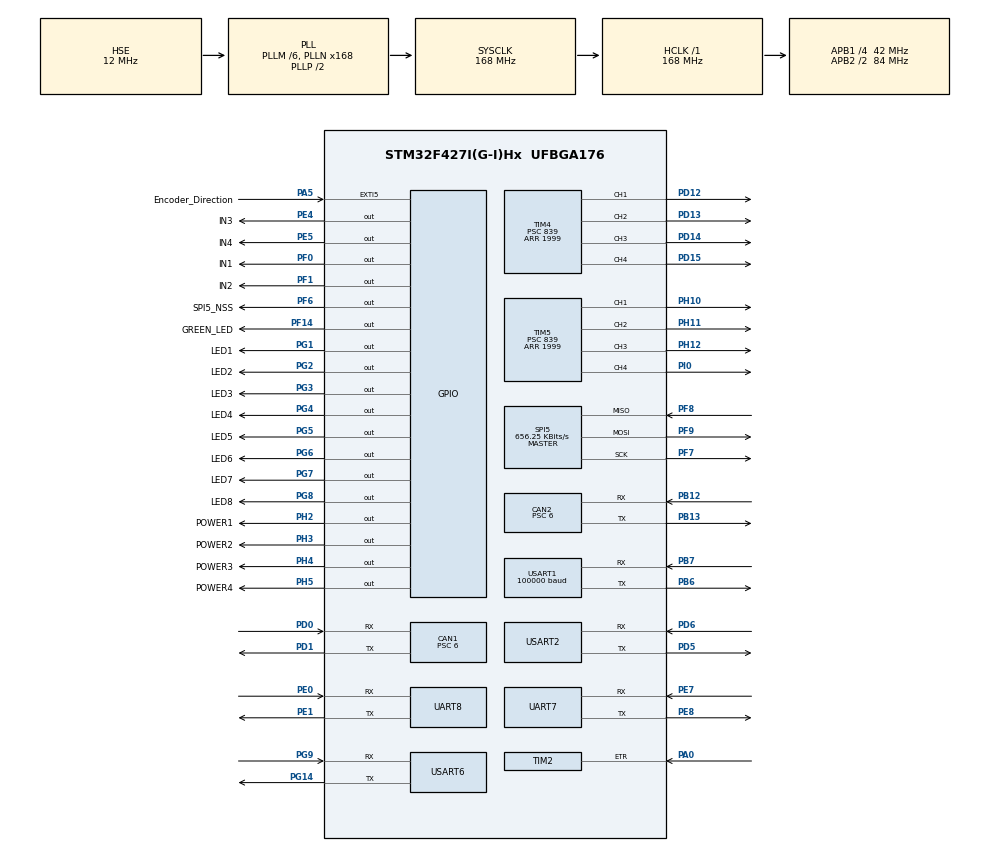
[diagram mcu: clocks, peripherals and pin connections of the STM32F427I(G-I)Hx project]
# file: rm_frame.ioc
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CAN1.BS1=CAN_BS1_2TQ
CAN1.BS2=CAN_BS2_4TQ
CAN1.CalculateTimeQuantum=142.85714285714286
CAN1.Prescaler=6
CAN2.BS1=CAN_BS1_2TQ
CAN2.BS2=CAN_BS2_4TQ
CAN2.CalculateTimeQuantum=142.85714285714286
CAN2.Prescaler=6
Dma.Request0=UART7_RX
Dma.Request1=USART1_RX
Dma.Request2=USART6_RX
Dma.UART7_RX.0.Direction=DMA_PERIPH_TO_MEMORY
Dma.UART7_RX.0.FIFOMode=DMA_FIFOMODE_DISABLE
Dma.UART7_RX.0.Instance=DMA1_Stream3
Dma.UART7_RX.0.MemDataAlignment=DMA_MDATAALIGN_BYTE
Dma.UART7_RX.0.MemInc=DMA_MINC_ENABLE
Dma.UART7_RX.0.Mode=DMA_CIRCULAR
Dma.UART7_RX.0.PeriphDataAlignment=DMA_PDATAALIGN_BYTE
Dma.UART7_RX.0.PeriphInc=DMA_PINC_DISABLE
Dma.UART7_RX.0.Priority=DMA_PRIORITY_VERY_HIGH
Dma.USART1_RX.1.Direction=DMA_PERIPH_TO_MEMORY
Dma.USART1_RX.1.FIFOMode=DMA_FIFOMODE_DISABLE
Dma.USART1_RX.1.Instance=DMA2_Stream2
Dma.USART1_RX.1.MemDataAlignment=DMA_MDATAALIGN_BYTE
Dma.USART1_RX.1.MemInc=DMA_MINC_ENABLE
Dma.USART1_RX.1.Mode=DMA_CIRCULAR
Dma.USART1_RX.1.PeriphDataAlignment=DMA_PDATAALIGN_BYTE
Dma.USART1_RX.1.PeriphInc=DMA_PINC_DISABLE
Dma.USART1_RX.1.Priority=DMA_PRIORITY_VERY_HIGH
Dma.USART6_RX.2.Direction=DMA_PERIPH_TO_MEMORY
Dma.USART6_RX.2.FIFOMode=DMA_FIFOMODE_DISABLE
Dma.USART6_RX.2.Instance=DMA2_Stream1
Dma.USART6_RX.2.MemDataAlignment=DMA_MDATAALIGN_BYTE
Dma.USART6_RX.2.MemInc=DMA_MINC_ENABLE
Dma.USART6_RX.2.Mode=DMA_CIRCULAR
Dma.USART6_RX.2.PeriphDataAlignment=DMA_PDATAALIGN_BYTE
Dma.USART6_RX.2.PeriphInc=DMA_PINC_DISABLE
Dma.USART6_RX.2.Priority=DMA_PRIORITY_VERY_HIGH
FREERTOS.INCLUDE_vTaskDelayUntil=1
FREERTOS.Tasks01=defaultTask,0,128,StartDefaultTask,Default,NULL,Dynamic,NULL,NULL
Mcu.Family=STM32F4
Mcu.Name=STM32F427I(G-I)Hx
Mcu.Package=UFBGA176
NVIC.CAN1_RX0_IRQn=true\:5\:0\:false\:false\:true\:true\:true\:true
NVIC.CAN2_RX0_IRQn=true\:5\:0\:false\:false\:true\:true\:true\:true
NVIC.DMA1_Stream3_IRQn=true\:5\:0\:false\:false\:true\:true\:false\:true
NVIC.DMA2_Stream1_IRQn=true\:5\:0\:false\:false\:true\:true\:false\:true
NVIC.DMA2_Stream2_IRQn=true\:5\:0\:false\:false\:true\:true\:false\:true
NVIC.EXTI9_5_IRQn=true\:5\:0\:false\:false\:true\:true\:true\:true
NVIC.PriorityGroup=NVIC_PRIORITYGROUP_4
NVIC.TIM1_UP_TIM10_IRQn=true\:0\:0\:false\:false\:true\:false\:false\:true
NVIC.TIM3_IRQn=true\:5\:0\:false\:false\:true\:true\:true\:true
NVIC.TimeBase=TIM1_UP_TIM10_IRQn
NVIC.TimeBaseIP=TIM1
NVIC.UART7_IRQn=true\:5\:0\:false\:false\:true\:true\:true\:true
NVIC.UART8_IRQn=true\:5\:0\:false\:false\:true\:true\:true\:true
NVIC.USART1_IRQn=true\:5\:0\:false\:false\:true\:true\:true\:true
NVIC.USART2_IRQn=true\:5\:0\:false\:false\:true\:true\:true\:true
NVIC.USART6_IRQn=true\:5\:0\:false\:false\:true\:true\:true\:true
PA0/WKUP.Signal=S_TIM2_CH1_ETR
PA13.Mode=Serial_Wire
PA13.Signal=SYS_JTMS-SWDIO
PA14.Mode=Serial_Wire
PA14.Signal=SYS_JTCK-SWCLK
PA5.GPIO_Label=Encoder_Direction
PA5.GPIO_ModeDefaultEXTI=GPIO_MODE_IT_RISING_FALLING
PA5.Signal=GPXTI5
PB12.Mode=Slave
PB12.Signal=CAN2_RX
PB13.Mode=Slave
PB13.Signal=CAN2_TX
PB6.Mode=Asynchronous
PB6.Signal=USART1_TX
PB7.Mode=Asynchronous
PB7.Signal=USART1_RX
PD0.Mode=Master
PD0.Signal=CAN1_RX
PD1.Mode=Master
PD1.Signal=CAN1_TX
PD12.Signal=S_TIM4_CH1
PD13.Signal=S_TIM4_CH2
PD14.Signal=S_TIM4_CH3
PD15.Signal=S_TIM4_CH4
PD5.Mode=Asynchronous
PD5.Signal=USART2_TX
PD6.Mode=Asynchronous
PD6.Signal=USART2_RX
PE0.Mode=Asynchronous
PE0.Signal=UART8_RX
PE1.Mode=Asynchronous
PE1.Signal=UART8_TX
PE4.GPIO_Label=IN3
PE4.Signal=GPIO_Output
PE5.GPIO_Label=IN4
PE5.Signal=GPIO_Output
PE7.Mode=Asynchronous
PE7.Signal=UART7_RX
PE8.Mode=Asynchronous
PE8.Signal=UART7_TX
PF0.GPIO_Label=IN1
PF0.Signal=GPIO_Output
PF1.GPIO_Label=IN2
PF1.Signal=GPIO_Output
PF14.GPIO_Label=GREEN_LED
PF14.PinState=GPIO_PIN_SET
PF14.Signal=GPIO_Output
PF6.GPIO_Label=SPI5_NSS
PF6.Signal=GPIO_Output
PF7.Mode=Full_Duplex_Master
PF7.Signal=SPI5_SCK
PF8.Mode=Full_Duplex_Master
PF8.Signal=SPI5_MISO
PF9.Mode=Full_Duplex_Master
PF9.Signal=SPI5_MOSI
PG1.GPIO_Label=LED1
PG1.PinState=GPIO_PIN_SET
PG1.Signal=GPIO_Output
PG14.Mode=Asynchronous
PG14.Signal=USART6_TX
PG2.GPIO_Label=LED2
PG2.PinState=GPIO_PIN_SET
PG2.Signal=GPIO_Output
PG3.GPIO_Label=LED3
PG3.PinState=GPIO_PIN_SET
PG3.Signal=GPIO_Output
PG4.GPIO_Label=LED4
PG4.PinState=GPIO_PIN_SET
PG4.Signal=GPIO_Output
PG5.GPIO_Label=LED5
PG5.PinState=GPIO_PIN_SET
PG5.Signal=GPIO_Output
PG6.GPIO_Label=LED6
PG6.PinState=GPIO_PIN_SET
PG6.Signal=GPIO_Output
PG7.GPIO_Label=LED7
PG7.PinState=GPIO_PIN_SET
PG7.Signal=GPIO_Output
PG8.GPIO_Label=LED8
PG8.PinState=GPIO_PIN_SET
PG8.Signal=GPIO_Output
PG9.Mode=Asynchronous
PG9.Signal=USART6_RX
PH0/OSC_IN.Mode=HSE-External-Oscillator
PH0/OSC_IN.Signal=RCC_OSC_IN
PH1/OSC_OUT.Mode=HSE-External-Oscillator
PH1/OSC_OUT.Signal=RCC_OSC_OUT
PH10.Signal=S_TIM5_CH1
PH11.Signal=S_TIM5_CH2
PH12.Signal=S_TIM5_CH3
PH2.GPIO_Label=POWER1
PH2.Signal=GPIO_Output
PH3.GPIO_Label=POWER2
PH3.Signal=GPIO_Output
PH4.GPIO_Label=POWER3
PH4.Signal=GPIO_Output
PH5.GPIO_Label=POWER4
PH5.Signal=GPIO_Output
PI0.Signal=S_TIM5_CH4
ProjectManager.HeapSize=0x200
ProjectManager.StackSize=0x400
ProjectManager.TargetToolchain=MDK-ARM V5.27
RCC.48MHZClocksFreq_Value=84000000
RCC.AHBFreq_Value=168000000
RCC.APB1CLKDivider=RCC_HCLK_DIV4
RCC.APB1Freq_Value=42000000
RCC.APB1TimFreq_Value=84000000
RCC.APB2CLKDivider=RCC_HCLK_DIV2
RCC.APB2Freq_Value=84000000
RCC.APB2TimFreq_Value=168000000
RCC.CortexFreq_Value=168000000
RCC.HCLKFreq_Value=168000000
RCC.HSE_VALUE=12000000
RCC.HSI_VALUE=16000000
RCC.LSE_VALUE=32768
RCC.PLLM=6
RCC.PLLN=168
RCC.PLLSourceVirtual=RCC_PLLSOURCE_HSE
RCC.SYSCLKFreq_VALUE=168000000
RCC.SYSCLKSource=RCC_SYSCLKSOURCE_PLLCLK
RCC.VCOOutputFreq_Value=336000000
SH.S_TIM2_CH1_ETR.0=TIM2_ETR,ClockSourceETR_Mode2
SH.S_TIM4_CH1.0=TIM4_CH1,PWM Generation1 CH1
SH.S_TIM4_CH2.0=TIM4_CH2,PWM Generation2 CH2
SH.S_TIM4_CH3.0=TIM4_CH3,PWM Generation3 CH3
SH.S_TIM4_CH4.0=TIM4_CH4,PWM Generation4 CH4
SH.S_TIM5_CH1.0=TIM5_CH1,PWM Generation1 CH1
SH.S_TIM5_CH2.0=TIM5_CH2,PWM Generation2 CH2
SH.S_TIM5_CH3.0=TIM5_CH3,PWM Generation3 CH3
SH.S_TIM5_CH4.0=TIM5_CH4,PWM Generation4 CH4
SPI5.BaudRatePrescaler=SPI_BAUDRATEPRESCALER_128
SPI5.CalculateBaudRate=656.25 KBits/s
SPI5.Direction=SPI_DIRECTION_2LINES
SPI5.Mode=SPI_MODE_MASTER
SPI5.VirtualType=VM_MASTER
TIM2.Period=0xFFFFFFFF
TIM3.Period=99
TIM3.Prescaler=839
TIM4.Channel-PWM\ Generation1\ CH1=TIM_CHANNEL_1
TIM4.Channel-PWM\ Generation2\ CH2=TIM_CHANNEL_2
TIM4.Channel-PWM\ Generation3\ CH3=TIM_CHANNEL_3
TIM4.Channel-PWM\ Generation4\ CH4=TIM_CHANNEL_4
TIM4.Period=1999
TIM4.Prescaler=839
TIM5.Channel-PWM\ Generation1\ CH1=TIM_CHANNEL_1
TIM5.Channel-PWM\ Generation2\ CH2=TIM_CHANNEL_2
TIM5.Channel-PWM\ Generation3\ CH3=TIM_CHANNEL_3
TIM5.Channel-PWM\ Generation4\ CH4=TIM_CHANNEL_4
TIM5.Period=1999
TIM5.Prescaler=839
UART7.VirtualMode=Asynchronous
UART8.VirtualMode=Asynchronous
USART1.BaudRate=100000
USART1.Parity=PARITY_EVEN
USART1.VirtualMode=VM_ASYNC
USART2.VirtualMode=VM_ASYNC
USART6.VirtualMode=VM_ASYNC
VP_FREERTOS_VS_CMSIS_V1.Mode=CMSIS_V1
VP_SYS_VS_tim1.Mode=TIM1
VP_TIM3_VS_ClockSourceINT.Mode=Internal
VP_TIM4_VS_ClockSourceINT.Mode=Internal
VP_TIM5_VS_ClockSourceINT.Mode=Internal
board=custom

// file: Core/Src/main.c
/* USER CODE BEGIN Header */
/**
  ******************************************************************************
  * @file           : main.c
  * @brief          : Main program body
  ******************************************************************************
  * @attention
  *
  * <h2><center>&copy; Copyright (c) 2020 STMicroelectronics.
  * All rights reserved.</center></h2>
  *
  * This software component is licensed by ST under BSD 3-Clause license,
  * the "License"; You may not use this file except in compliance with the
  * License. You may obtain a copy of the License at:
  *                        opensource.org/licenses/BSD-3-Clause
  *
  ******************************************************************************
  */
/* USER CODE END Header */

#include "main.h"
#include "cmsis_os.h"
#include "can.h"
#include "dma.h"
#include "spi.h"
#include "tim.h"
#include "usart.h"
#include "gpio.h"

/* USER CODE BEGIN Includes */
#include "bsp.h"
/* USER CODE END Includes */

void SystemClock_Config(void);
void MX_FREERTOS_Init(void);

int main(void)
{

  /* MCU Configuration--------------------------------------------------------*/

  /* Reset of all peripherals, Initializes the Flash interface and the Systick. */
  HAL_Init();

  /* Configure the system clock */
  SystemClock_Config();

  /* USER CODE BEGIN SysInit */
	taskENTER_CRITICAL();  //进入临界段
	//由于退出临界段代码无法写在指定位置，故当使用CubeMX重新生成工程时，
	//需要将taskEXIT_CRITICAL()退出临界段重新写入
  /* USER CODE END SysInit */

  /* Initialize all configured peripherals */
  MX_GPIO_Init();
  MX_DMA_Init();
  MX_CAN1_Init();
  MX_CAN2_Init();
  MX_SPI5_Init();
  MX_TIM2_Init();
  MX_TIM3_Init();
  MX_TIM4_Init();
  MX_TIM5_Init();
  MX_UART7_Init();
  MX_UART8_Init();
  MX_USART1_UART_Init();
  MX_USART2_UART_Init();
  MX_USART6_UART_Init();
  /* USER CODE BEGIN 2 */
	BSP_Init();
  /* USER CODE END 2 */

  /* Call init function for freertos objects (in freertos.c) */
  MX_FREERTOS_Init();

  taskEXIT_CRITICAL();//退出临界段
  /* Start scheduler */
  osKernelStart();

  /* We should never get here as control is now taken by the scheduler */

  /* Infinite loop */
  while (1)
  {

  }
}

void SystemClock_Config(void)
{
  RCC_OscInitTypeDef RCC_OscInitStruct = {0};
  RCC_ClkInitTypeDef RCC_ClkInitStruct = {0};

  /** Configure the main internal regulator output voltage
  */
  __HAL_RCC_PWR_CLK_ENABLE();
  __HAL_PWR_VOLTAGESCALING_CONFIG(PWR_REGULATOR_VOLTAGE_SCALE1);
  /** Initializes the CPU, AHB and APB busses clocks
  */
  RCC_OscInitStruct.OscillatorType = RCC_OSCILLATORTYPE_HSE;
  RCC_OscInitStruct.HSEState = RCC_HSE_ON;
  RCC_OscInitStruct.PLL.PLLState = RCC_PLL_ON;
  RCC_OscInitStruct.PLL.PLLSource = RCC_PLLSOURCE_HSE;
  RCC_OscInitStruct.PLL.PLLM = 6;
  RCC_OscInitStruct.PLL.PLLN = 168;
  RCC_OscInitStruct.PLL.PLLP = RCC_PLLP_DIV2;
  RCC_OscInitStruct.PLL.PLLQ = 4;
  if (HAL_RCC_OscConfig(&RCC_OscInitStruct) != HAL_OK)
  {
    Error_Handler();
  }
  /** Initializes the CPU, AHB and APB busses clocks
  */
  RCC_ClkInitStruct.ClockType = RCC_CLOCKTYPE_HCLK|RCC_CLOCKTYPE_SYSCLK
                              |RCC_CLOCKTYPE_PCLK1|RCC_CLOCKTYPE_PCLK2;
  RCC_ClkInitStruct.SYSCLKSource = RCC_SYSCLKSOURCE_PLLCLK;
  RCC_ClkInitStruct.AHBCLKDivider = RCC_SYSCLK_DIV1;
  RCC_ClkInitStruct.APB1CLKDivider = RCC_HCLK_DIV4;
  RCC_ClkInitStruct.APB2CLKDivider = RCC_HCLK_DIV2;

  if (HAL_RCC_ClockConfig(&RCC_ClkInitStruct, FLASH_LATENCY_5) != HAL_OK)
  {
    Error_Handler();
  }
}

//void HAL_TIM_PeriodElapsedCallback(TIM_HandleTypeDef *htim)
//{
//  /* USER CODE BEGIN Callback 0 */

//  /* USER CODE END Callback 0 */
//  if (htim->Instance == TIM1) {
//    HAL_IncTick();
//  }
//  /* USER CODE BEGIN Callback 1 */

//  /* USER CODE END Callback 1 */
//}

void Error_Handler(void)
{
}

/************************ (C) COPYRIGHT STMicroelectronics *****END OF FILE****/

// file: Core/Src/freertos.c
/* USER CODE BEGIN Header */
/**
  ******************************************************************************
  * File Name          : freertos.c
  * Description        : Code for freertos applications
  ******************************************************************************
  * @attention
  *
  * <h2><center>&copy; Copyright (c) 2020 STMicroelectronics.
  * All rights reserved.</center></h2>
  *
  * This software component is licensed by ST under Ultimate Liberty license
  * SLA0044, the "License"; You may not use this file except in compliance with
  * the License. You may obtain a copy of the License at:
  *                             www.st.com/SLA0044
  *
  ******************************************************************************
  */
/* USER CODE END Header */

#include "FreeRTOS.h"
#include "task.h"
#include "main.h"
#include "cmsis_os.h"

/* USER CODE BEGIN Includes */
#include "myinclude.h"
/* USER CODE END Includes */

/* USER CODE BEGIN Variables */
osThreadId RemoteDataTaskHandle;
osThreadId VisionDataTaskHandle;
osThreadId RefereeDataTaskHandle;
osThreadId TriggerDriveTaskHandle;
osThreadId EnergyStorageTaskHandle;
osThreadId GimbalControlTaskHandle;
osThreadId ChassisControlTaskHandle;
osThreadId OffLineCheckTaskHandle;
osThreadId PrintfTaskHandle;

/* USER CODE END Variables */
osThreadId defaultTaskHandle;

/* USER CODE BEGIN FunctionPrototypes */
void Remote_Data_Task(void const * argument);
void Vision_Data_Task(void const * argument);
void Referee_Data_Task(void const * argument);
void Energy_Storage_Task(void const * argument);
void Trigger_Drive_Task(void const * argument);
void Gimbal_Control_Task(void const * argument);
void Chassis_Control_Task(void const * argument);
void OffLine_Check_Task(void const *argument);
void Printf_Task(void const *argument);
/* USER CODE END FunctionPrototypes */

void StartDefaultTask(void const * argument);

void MX_FREERTOS_Init(void); /* (MISRA C 2004 rule 8.1) */

/* GetIdleTaskMemory prototype (linked to static allocation support) */
void vApplicationGetIdleTaskMemory( StaticTask_t **ppxIdleTaskTCBBuffer, StackType_t **ppxIdleTaskStackBuffer, uint32_t *pulIdleTaskStackSize );

/* USER CODE BEGIN GET_IDLE_TASK_MEMORY */
static StaticTask_t xIdleTaskTCBBuffer;
static StackType_t xIdleStack[configMINIMAL_STACK_SIZE];

void vApplicationGetIdleTaskMemory( StaticTask_t **ppxIdleTaskTCBBuffer, StackType_t **ppxIdleTaskStackBuffer, uint32_t *pulIdleTaskStackSize )
{
  *ppxIdleTaskTCBBuffer = &xIdleTaskTCBBuffer;
  *ppxIdleTaskStackBuffer = &xIdleStack[0];
  *pulIdleTaskStackSize = configMINIMAL_STACK_SIZE;
  /* place for user code */
}
/* USER CODE END GET_IDLE_TASK_MEMORY */

void MX_FREERTOS_Init(void) {

  /* Create the thread(s) */
  /* definition and creation of defaultTask */
  osThreadDef(defaultTask, StartDefaultTask, osPriorityNormal, 0, 128);
  defaultTaskHandle = osThreadCreate(osThread(defaultTask), NULL);

  /* USER CODE BEGIN RTOS_THREADS */
  /* add threads, ... */
	/*********数据接收与处理*********/
	osThreadDef(RemoteDataTask, Remote_Data_Task, osPriorityHigh, 0, 256);          					 //遥控器任务
	RemoteDataTaskHandle = osThreadCreate(osThread(RemoteDataTask), NULL);

	osThreadDef(RefereeDataTask, Referee_Data_Task, osPriorityHigh, 0, 128);									 //裁判系统任务
	RefereeDataTaskHandle = osThreadCreate(osThread(RefereeDataTask), NULL);

//	osThreadDef(VisionDataTask, Vision_Data_Task, osPriorityHigh, 0, 128);			 							 //视觉任务
//	VisionDataTaskHandle = osThreadCreate(osThread(VisionDataTask), NULL);

	/**********发射控制**************/
	osThreadDef(EnergyStorageTask, Energy_Storage_Task, osPriorityAboveNormal, 0, 128);  	 	 //蓄能任务
	EnergyStorageTaskHandle = osThreadCreate(osThread(EnergyStorageTask),  NULL);

	osThreadDef(TriggerDriveTask, Trigger_Drive_Task, osPriorityAboveNormal, 0, 256);   		 	 //拨盘控制任务
	TriggerDriveTaskHandle = osThreadCreate(osThread(TriggerDriveTask),  NULL);

	/**********底盘控制**************/
//	osThreadDef(ChassisContrlTask, Chassis_Control_Task, osPriorityAboveNormal, 0, 256); 			 //底盘控制任务
//	ChassisControlTaskHandle = osThreadCreate(osThread(ChassisContrlTask), NULL);

	/**********云台控制**************/
	osThreadDef(GimbalControlTask, Gimbal_Control_Task, osPriorityAboveNormal, 0, 256);  	     //云台控制任务
	GimbalControlTaskHandle = osThreadCreate(osThread(GimbalControlTask), NULL);

	/**********断线检测**************/
	osThreadDef(OffLineCheckTask, OffLine_Check_Task, osPriorityNormal, 0, 128);							 //断线检测任务
	OffLineCheckTaskHandle = osThreadCreate(osThread(OffLineCheckTask), NULL);

	/**********打印任务**************/
	osThreadDef(PrintfTask, Printf_Task, osPriorityNormal, 0, 128);							 //断线检测任务
	PrintfTaskHandle = osThreadCreate(osThread(PrintfTask), NULL);
  /* USER CODE END RTOS_THREADS */

}

void StartDefaultTask(void const * argument)
{
  /* USER CODE BEGIN StartDefaultTask */
	portTickType xLastWakeTime;
	xLastWakeTime = xTaskGetTickCount();
  /* Infinite loop */
  for(;;)
  {
		GREEN_TOG();
    osDelayUntil(&xLastWakeTime,1000);
  }
  /* USER CODE END StartDefaultTask */
}

/************************ (C) COPYRIGHT STMicroelectronics *****END OF FILE****/
